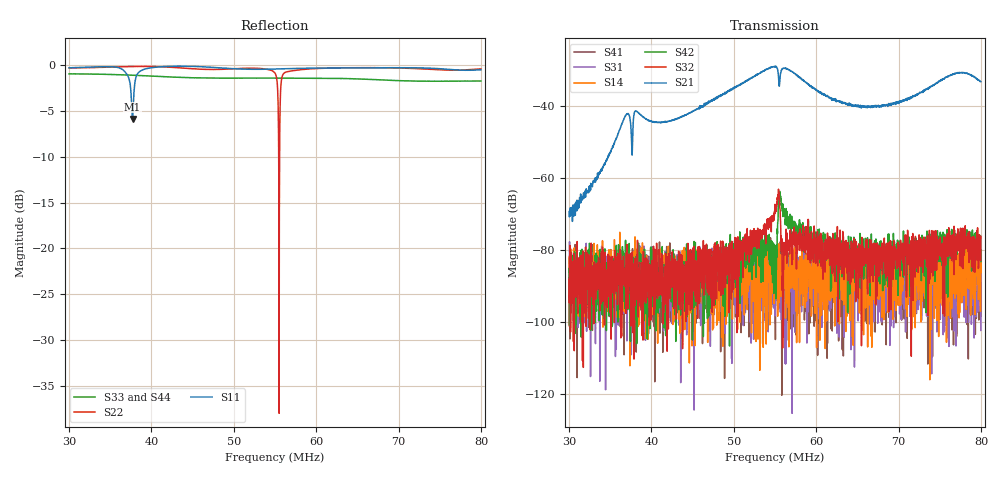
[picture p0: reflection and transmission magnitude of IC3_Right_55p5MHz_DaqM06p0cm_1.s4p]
#  HZ  S  DB  R  50.00
! Rohde & Schwarz Vector Network Analyzer
! Rohde-Schwarz,ZNB8-4Port,1311601044102961,2.82
! Created: UTC 2/13/2019, 1:51:55 PM
! freq[Hz]  db:S11  ang:S11  db:S12  ang:S12  db:S13  ang:S13  db:S14  ang:S14
!  db:S21  ang:S21  db:S22  ang:S22  db:S23  ang:S23  db:S24  ang:S24
!  db:S31  ang:S31  db:S32  ang:S32  db:S33  ang:S33  db:S34  ang:S34
!  db:S41  ang:S41  db:S42  ang:S42  db:S43  ang:S43  db:S44  ang:S44
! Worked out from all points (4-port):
!   2001 points, 30 MHz to 80 MHz, reference 50 ohm
!   strongest paths, dB at 30 MHz, 42.5 MHz, 55 MHz, 67.5 MHz, 80 MHz:
!     S21: -69.3, -44.1, -29.1, -40.2, -33.3
!     S32: -88.1, -88.1, -67.3, -82.9, -76.3
!     S42: -85.2, -84.9, -84.2, -78.7, -83.3
!     S14: -101.0, -81.0, -84.9, -93.5, -86.3
!     S31: -93.8, -84.3, -94.7, -84.0, -102.3
!     S41: -83.7, -88.7, -82.9, -87.4, -81.4
!   lowest |S11| = -5.9 dB at 37.7 MHz (marker M1), VSWR 3.07, Z = 111 - j63.7 ohm
!   |S11| at or under -10 dB: nowhere
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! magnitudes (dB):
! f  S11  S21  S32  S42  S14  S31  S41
! 30 MHz  -0.3  -69.3  -88.1  -85.2  -101.0  -93.8  -83.7
! 37.7 MHz  -5.9  -50.1  -86.0  -88.2  -86.2  -83.9  -79.6
! 54.98 MHz  -0.4  -29.1  -69.9  -84.7  -92.3  -84.0  -89.6
! 55.65 MHz  -0.4  -31.3  -71.1  -66.4  -82.7  -97.3  -77.7
! 56.05 MHz  -0.4  -29.5  -81.1  -69.5  -89.3  -98.3  -86.3
! 62.75 MHz  -0.3  -38.7  -78.2  -82.3  -85.7  -80.7  -89.3
! 80 MHz  -0.5  -33.3  -76.3  -83.3  -86.3  -102.3  -81.4
